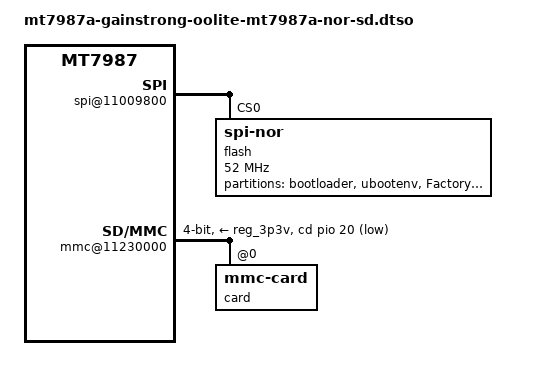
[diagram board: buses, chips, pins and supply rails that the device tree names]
// SPDX-License-Identifier: (GPL-2.0 OR MIT)

/dts-v1/;
/plugin/;

#include <dt-bindings/gpio/gpio.h>

/ {
	compatible = "gainstrong,oolite-mt7987a",
		     "mediatek,mt7987a", "mediatek,mt7987";
};

/* Keep the Oolite SPI-NOR boot layout identical to the standard NOR overlay. */
&{/soc/spi@11009800} {
	#address-cells = <1>;
	#size-cells = <0>;
	pinctrl-names = "default";
	pinctrl-0 = <&spi2_flash_pins>;
	status = "okay";

	flash@0 {
		compatible = "jedec,spi-nor";
		reg = <0>;
		spi-max-frequency = <52000000>;
		spi-rx-bus-width = <4>;
		spi-tx-bus-width = <4>;

		partitions {
			compatible = "fixed-partitions";
			#address-cells = <1>;
			#size-cells = <1>;

			partition@0 {
				label = "bootloader";
				reg = <0x0 0xe0000>;
			};

			partition@e0000 {
				label = "ubootenv";
				reg = <0xe0000 0x10000>;
			};

			factory: partition@f0000 {
				label = "Factory";
				reg = <0xf0000 0x10000>;

				nvmem-layout {
					compatible = "fixed-layout";
					#address-cells = <1>;
					#size-cells = <1>;

					eeprom_factory_0: eeprom@0 {
						reg = <0x0 0x1e00>;
					};
				};
			};

			nor_rootfs: partition@100000 {
				compatible = "denx,fit";
				label = "firmware";
				reg = <0x100000 0x0>;
			};
		};
	};
};

/* Controller values match the verified Oolite SD boot overlay. */
&{/soc/mmc@11230000} {
	pinctrl-names = "default", "state_uhs";
	pinctrl-0 = <&sd_pins_default>;
	pinctrl-1 = <&sd_pins_uhs>;
	cd-gpios = <&pio 20 GPIO_ACTIVE_LOW>;

	bus-width = <4>;
	max-frequency = <48000000>;
	cap-sd-highspeed;
	no-mmc;
	no-sdio;
	vmmc-supply = <&reg_3p3v>;
	vqmmc-supply = <&reg_3p3v>;

	#address-cells = <1>;
	#size-cells = <0>;
	status = "okay";

	card@0 {
		compatible = "mmc-card";
		reg = <0>;
	};
};

&{/chosen} {
	rootdisk-nor = <&nor_rootfs>;
};

&pcie0 {
	pcie@0,0 {
		mt7990@0,0 {
			nvmem-cells = <&eeprom_factory_0>;
			nvmem-cell-names = "eeprom";
		};
	};
};
